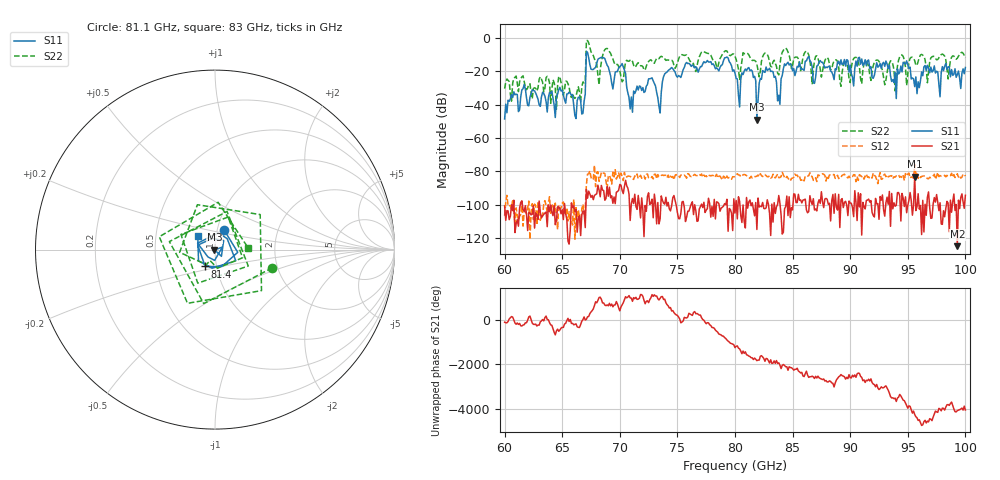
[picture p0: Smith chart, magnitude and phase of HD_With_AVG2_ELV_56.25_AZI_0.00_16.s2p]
! 11/25/2026 10:17:49 AM
! C:\ANRITSUVNA\TEMP\TEMP.S2P
! CHANNEL.1
! TR.MEASUREMENT
! RAW.DATA
# HZ S RI R 50.0
! FREQ.HZ  S11RE  S11IM  S21RE  S21IM  S12RE  S12IM  S22RE  S22IM
!; PortSelection: Port_12
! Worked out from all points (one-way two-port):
!   401 points, 60 GHz to 100 GHz, reference 50 ohm
!   highest |S21| = -83.15 dB at 95.6 GHz (marker M1); lowest = -124.7 dB at 99.3 GHz (marker M2)
!   lowest |S11| = -49.1 dB at 81.9 GHz (marker M3), VSWR 1.01, Z = 49.6 + j0.0297 ohm
!   |S11| at or under -10 dB: start of sweep to 67.09 GHz; 67.23 GHz to end of sweep
!   |S22| runs from -42.8 to -1.7 dB; largest |S21 - S12| = 0.00015
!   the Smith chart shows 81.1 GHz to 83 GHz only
!   S11 on the Smith chart (normalised r, x): 81.1 GHz: 1.08, +0.24; 81.4 GHz: 0.88, -0.17; 83 GHz: 0.82, +0.12
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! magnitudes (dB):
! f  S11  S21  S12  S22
! 60 GHz  -48.6  -100.7  -106.6  -30.5
! 61.6 GHz  -30.6  -102.9  -112.7  -22.8
! 66.7 GHz  -45.7  -105.9  -102.6  -29.5
! 67.3 GHz  -12.1  -91.8  -81.4  -3.2
! 68.4 GHz  -11.8  -88.4  -80.5  -14.7
! 70.3 GHz  -17.5  -93.3  -85.5  -25.5
! 70.9 GHz  -42.6  -109.3  -83.0  -13.5
! 72.7 GHz  -24.4  -99.0  -84.1  -13.3
! 73.4 GHz  -41.1  -111.3  -83.2  -12.6
! 74.4 GHz  -18.6  -103.6  -82.9  -13.4
! 80 GHz  -21.2  -104.9  -83.1  -11.1
! 81.1 GHz  -18.4  -102.0  -83.4  -9.5
! 81.4 GHz  -19.3  -100.5  -82.9  -13.0
! 81.9 GHz  -49.1  -114.7  -82.8  -15.9
! 83 GHz  -18.4  -105.1  -82.6  -14.6
! 83.8 GHz  -34.4  -94.4  -83.7  -22.3
! 84.5 GHz  -15.5  -94.7  -82.9  -7.0
! 86.7 GHz  -17.5  -99.8  -83.2  -28.0
! 93.4 GHz  -16.3  -92.0  -82.9  -15.6
! 95.6 GHz  -29.3  -83.2  -75.8  -13.7
! 99.3 GHz  -22.1  -124.7  -81.4  -12.3
! 100 GHz  -17.9  -94.2  -82.7  -12.1
